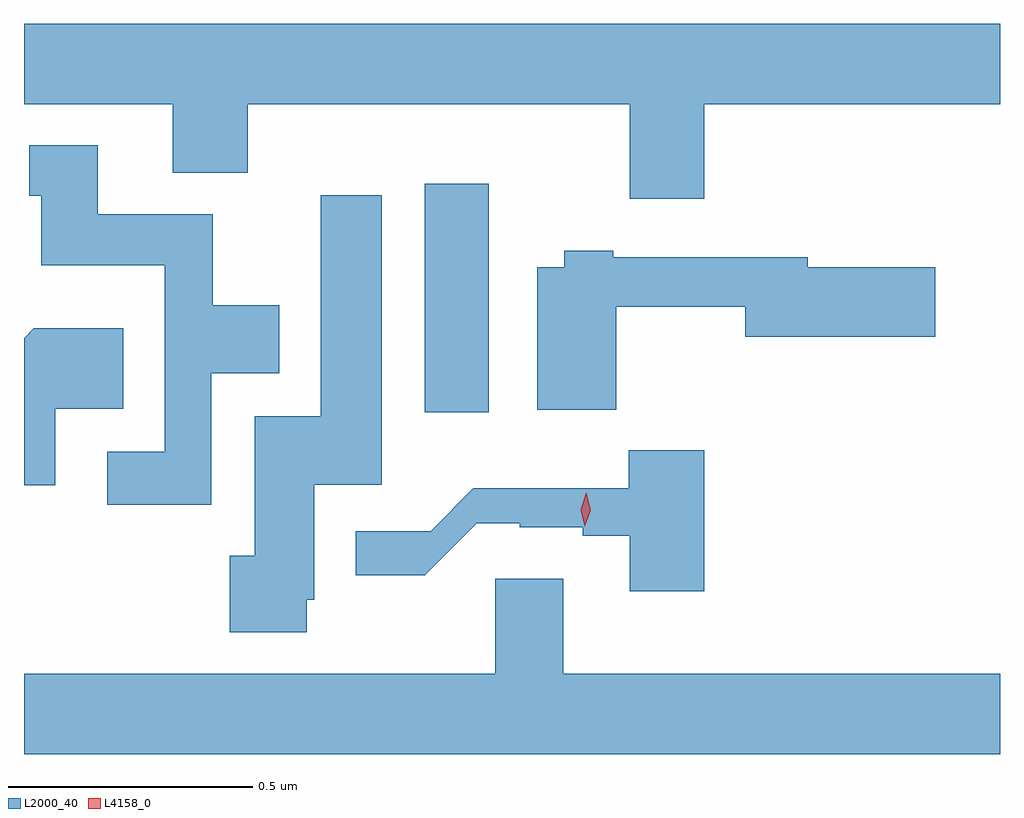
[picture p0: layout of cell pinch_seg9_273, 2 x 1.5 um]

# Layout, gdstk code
import gdstk
lib = gdstk.Library(unit=1e-6, precision=1e-09)
def R(c, l, rs):  # rectangles x0, y0, x1, y1
    for r in rs: c.add(gdstk.rectangle(r[:2], r[2:], *l))
def P(c, l, *ps):  # polygons
    for p in ps: c.add(gdstk.Polygon(p, *l))
L2000_40 = (2000, 40)
L4158_0 = (4158, 0)

pinch_seg9_273 = lib.new_cell('pinch_seg9_273')
R(pinch_seg9_273, L2000_40, [(514.559,1223.76,514.69,1224.229)])
P(pinch_seg9_273, L2000_40, [(515.132,1224.392),(515.738,1224.392),(515.738,1224.556),(513.738,1224.556),(513.738,1224.392),(514.043,1224.392),(514.043,1224.251),(514.196,1224.251),(514.196,1224.392),(514.979,1224.392),(514.979,1224.198),(515.132,1224.198)],
  [(514.122,1223.84),(514.261,1223.84),(514.261,1223.98),(514.125,1223.98),(514.125,1224.166),(513.889,1224.166),(513.889,1224.307),(513.749,1224.307),(513.749,1224.204),(513.773,1224.204),(513.773,1224.062),(514.026,1224.062),(514.026,1223.679),(513.909,1223.679),(513.909,1223.571),(514.122,1223.571)],
  [(514.317,1223.376),(514.333,1223.376),(514.333,1223.612),(514.471,1223.612),(514.471,1224.205),(514.346,1224.205),(514.346,1223.752),(514.211,1223.752),(514.211,1223.466),(514.16,1223.466),(514.16,1223.31),(514.317,1223.31)],
  [(514.952,1223.977),(515.216,1223.977),(515.216,1223.915),(515.605,1223.915),(515.605,1224.057),(515.344,1224.057),(515.344,1224.078),(514.945,1224.078),(514.945,1224.091),(514.845,1224.091),(514.845,1224.058),(514.79,1224.058),(514.79,1223.765),(514.952,1223.765)],
  [(513.802,1223.768),(513.941,1223.768),(513.941,1223.932),(513.758,1223.932),(513.738,1223.912),(513.738,1223.611),(513.802,1223.611)],
  [(515.132,1223.683),(514.977,1223.683),(514.977,1223.605),(514.659,1223.605),(514.571,1223.517),(514.418,1223.517),(514.418,1223.426),(514.56,1223.426),(514.56,1223.427),(514.666,1223.533),(514.754,1223.533),(514.754,1223.525),(514.883,1223.525),(514.883,1223.507),(514.979,1223.507),(514.979,1223.394),(515.132,1223.394)],
  [(515.738,1223.224),(514.843,1223.224),(514.843,1223.419),(514.704,1223.419),(514.704,1223.224),(513.738,1223.224),(513.738,1223.06),(515.738,1223.06)])
P(pinch_seg9_273, L4158_0, [(514.887,1223.527),(514.887,1223.527),(514.879,1223.561),(514.89,1223.595),(514.89,1223.595),(514.89,1223.595),(514.899,1223.56),(514.887,1223.527)])

lib.write_gds('pinch_seg9_273.gds')
